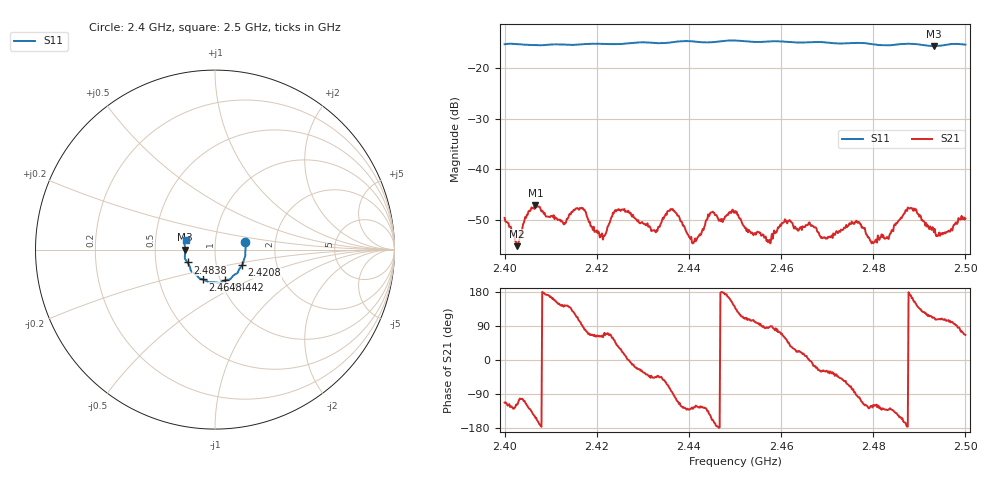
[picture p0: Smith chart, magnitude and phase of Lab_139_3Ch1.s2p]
# Hz S RI R 50
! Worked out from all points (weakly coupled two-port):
!   601 points, 2.4 GHz to 2.5 GHz, reference 50 ohm
!   highest |S21| = -47.13 dB at 2.4067 GHz (marker M1); lowest = -55.3 dB at 2.4027 GHz (marker M2)
!   lowest |S11| = -15.6 dB at 2.4932 GHz (marker M3), VSWR 1.40, Z = 35.8 - j0.0719 ohm
!   |S11| at or under -10 dB: start of sweep to end of sweep
!   S12 and S22 are empty: the file has one direction only
!   S11 on the Smith chart (normalised r, x): 2.4 GHz: 1.40, +0.12; 2.4208 GHz: 1.33, -0.24; 2.4442 GHz: 1.05, -0.37; 2.4648 GHz: 0.83, -0.28; 2.4838 GHz: 0.73, -0.11; 2.5 GHz: 0.72, +0.08
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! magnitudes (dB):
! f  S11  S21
! 2.4 GHz  -15.2  -49.6
! 2.4027 GHz  -15.2  -55.3
! 2.4067 GHz  -15.4  -47.1
! 2.4128 GHz  -15.3  -50.9
! 2.4167 GHz  -15.3  -47.6
! 2.4208 GHz  -15.2  -53.3
! 2.4245 GHz  -15.2  -48.1
! 2.4333 GHz  -15.0  -51.5
! 2.4365 GHz  -14.8  -47.9
! 2.4412 GHz  -14.7  -54.2
! 2.4442 GHz  -14.9  -48.9
! 2.45 GHz  -14.5  -48.3
! 2.4573 GHz  -14.7  -54.1
! 2.4607 GHz  -14.7  -50.5
! 2.4648 GHz  -14.9  -51.5
! 2.4667 GHz  -14.8  -51.1
! 2.4695 GHz  -14.9  -53.5
! 2.4833 GHz  -15.5  -53.8
! 2.4838 GHz  -15.4  -52.7
! 2.488 GHz  -15.2  -47.8
! 2.4932 GHz  -15.6  -52.5
! 2.5 GHz  -15.3  -49.8
